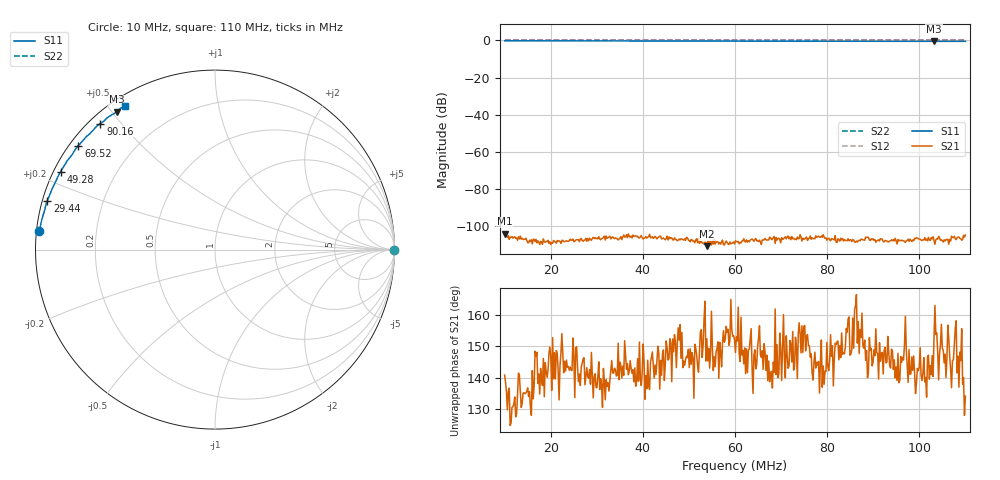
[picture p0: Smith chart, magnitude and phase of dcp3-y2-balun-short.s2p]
! Anritsu VNA Master:  Model: MS2034B/10/19/501
! SN:  1337062
! /bd0/ovro-jan-2016/dcp3-y2-balun-short.s2p
! Existing Calibration Information:
! TYPE:  Current Settings,  Active Cal Settings
! TIME:  01/14/2016 12:19:35 PM,  01/14/2016 12:01:10 PM
! INTERNAL TEMP:  43.8 C,  43.8 C
! # POINTS:  500,  500
! START FREQ:  10.000 MHz,  10.000 MHz
! STOP FREQ:  110.000 MHz,  110.000 MHz
! SOURCE POWER:  High,  High
! IFBW:  100 Hz,  100 Hz
! AVG FACTOR:  4 ,  4
! REF PLANE 1:  0 mm,  0 mm
! REF PLANE 2:  0 mm,  0 mm
! CAL TYPE:  Full S11,  Full S11
! CAL METHOD:  SOLT,  SOLT
! CAL LINE TYPE:  Coax,  Coax
! DUT PORT 1:  K-Conn(M),  K-Conn(M)
! DUT PORT 2:  N-Conn(M),  N-Conn(M)
! CAL STATUS:  OK: Accuracy High,  --
# GHZ S DB R 50.0
! FREQ.GHZ  S11DB  S11A  S21DB  S21A  S12DB  S12A  S22DB  S22A
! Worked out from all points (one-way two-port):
!   500 points, 10 MHz to 110 MHz, reference 50 ohm
!   highest |S21| = -103.96 dB at 10 MHz (marker M1); lowest = -110.7 dB at 53.89 MHz (marker M2)
!   lowest |S11| = -0.5 dB at 103.2 MHz (marker M3), VSWR 33.80, Z = 1.87 + j25.8 ohm
!   |S11| at or under -10 dB: nowhere
!   |S22| runs from 0.0 to 0.0 dB; largest |S21 - S12| = 1
!   S11 on the Smith chart (normalised r, x): 10 MHz: 0.01, +0.05; 29.44 MHz: 0.01, +0.14; 49.28 MHz: 0.02, +0.24; 69.52 MHz: 0.02, +0.34; 90.16 MHz: 0.03, +0.44; 110 MHz: 0.04, +0.55
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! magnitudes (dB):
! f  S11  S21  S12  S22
! 10 MHz  -0.1  -104.0  0.0  0.0
! 22.42 MHz  -0.2  -107.6  0.0  0.0
! 26.83 MHz  -0.2  -107.7  0.0  0.0
! 29.44 MHz  -0.2  -106.6  0.0  0.0
! 43.47 MHz  -0.3  -105.7  0.0  0.0
! 49.28 MHz  -0.3  -107.6  0.0  0.0
! 53.89 MHz  -0.3  -110.7  0.0  0.0
! 57.09 MHz  -0.3  -108.3  0.0  0.0
! 60.1 MHz  -0.4  -107.8  0.0  0.0
! 61.9 MHz  -0.4  -106.7  0.0  0.0
! 66.51 MHz  -0.4  -106.5  0.0  0.0
! 69.52 MHz  -0.4  -106.5  0.0  0.0
! 76.73 MHz  -0.4  -106.3  0.0  0.0
! 81.94 MHz  -0.4  -108.6  0.0  0.0
! 86.55 MHz  -0.4  -108.5  0.0  0.0
! 90.16 MHz  -0.5  -107.5  0.0  0.0
! 93.37 MHz  -0.5  -108.4  0.0  0.0
! 96.37 MHz  -0.5  -107.7  0.0  0.0
! 100.8 MHz  -0.5  -107.2  0.0  0.0
! 103.2 MHz  -0.5  -107.7  0.0  0.0
! 106.8 MHz  -0.5  -107.9  0.0  0.0
! 110 MHz  -0.5  -104.7  0.0  0.0
